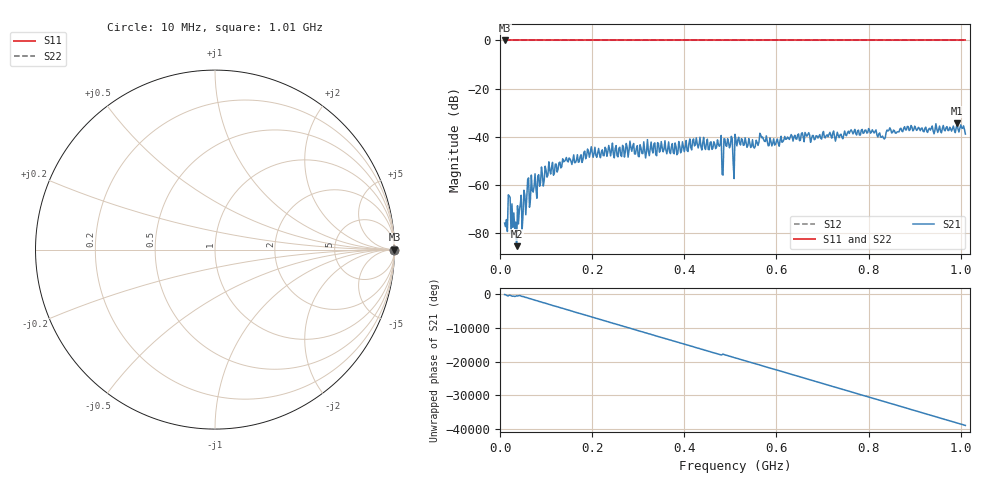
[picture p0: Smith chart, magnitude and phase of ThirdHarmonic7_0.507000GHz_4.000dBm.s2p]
! 8/17/2025 2:39:44 PM
! C:\ANRITSUVNA\TEMP\TEMP.S2P
! CHANNEL.1
! TR.MEASUREMENT
! RAW.DATA
! RF.CORRECTION.OFF
! AVERAGING.OFF
! IF.BANDWIDTH: 5KHZ
! SWEEPTYPE:  FREQ.SWEEP(Linear)
! Reference Plane Port Info
! PORT:  PORT1  PORT2
! DISTANCE:  0  m  0  m
! TIME:  0  s  0  s
! PHASE.OFFSET:  0  deg.  0  deg.
! LOSS:  0  dB  0  dB
! REF.LOSS:  0  dB  0  dB
! REF.FREQ:  0  Hz  0  Hz
! Power Info
! POWER:  -20  dBm  -20  dBm
! EFF.POWER:  -20  dBm  -20  dBm
! SOURCE.ATTEN:  0  dB  0  dB
! TEST.ATTEN:  0  dB  0  dB
# GHZ S RI R 50.0
! FREQ.GHZ  S11RE  S11IM  S21RE  S21IM  S12RE  S12IM  S22RE  S22IM
!; PortSelection: Port_12
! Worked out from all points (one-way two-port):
!   501 points, 10 MHz to 1.01 GHz, reference 50 ohm
!   highest |S21| = -34.46 dB at 992 MHz (marker M1); lowest = -85.4 dB at 36 MHz (marker M2)
!   lowest |S11| = 0.0 dB at 10 MHz (marker M3)
!   |S11| at or under -10 dB: nowhere
!   |S22| runs from 0.0 to 0.0 dB; largest |S21 - S12| = 1
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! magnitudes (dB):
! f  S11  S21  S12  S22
! 10 MHz  0.0  -75.8  0.0  0.0
! 22 MHz  0.0  -65.2  0.0  0.0
! 28 MHz  0.0  -77.6  0.0  0.0
! 36 MHz  0.0  -85.4  0.0  0.0
! 42 MHz  0.0  -70.4  0.0  0.0
! 52 MHz  0.0  -62.2  0.0  0.0
! 56 MHz  0.0  -72.4  0.0  0.0
! 72 MHz  0.0  -63.0  0.0  0.0
! 178 MHz  0.0  -50.6  0.0  0.0
! 344 MHz  0.0  -42.8  0.0  0.0
! 476 MHz  0.0  -43.9  0.0  0.0
! 480 MHz  0.0  -39.4  0.0  0.0
! 486 MHz  0.0  -40.8  0.0  0.0
! 490 MHz  0.0  -43.6  0.0  0.0
! 510 MHz  0.0  -39.0  0.0  0.0
! 514 MHz  0.0  -43.8  0.0  0.0
! 678 MHz  0.0  -39.5  0.0  0.0
! 804 MHz  0.0  -38.5  0.0  0.0
! 832 MHz  0.0  -40.4  0.0  0.0
! 844 MHz  0.0  -37.3  0.0  0.0
! 992 MHz  0.0  -34.5  0.0  0.0
! 1.01 GHz  0.0  -38.9  0.0  0.0
